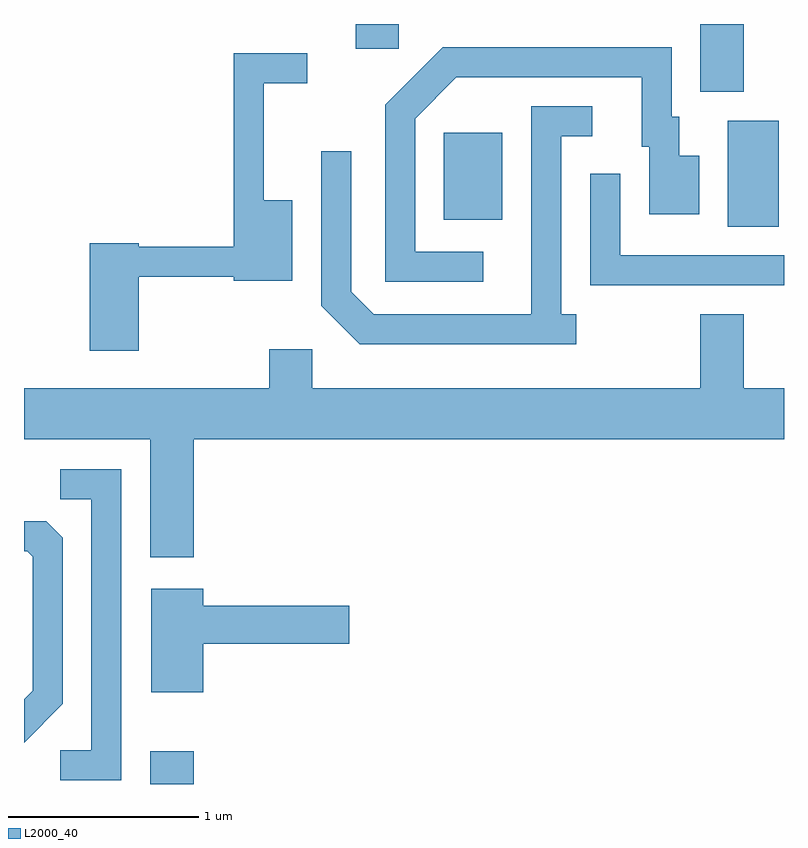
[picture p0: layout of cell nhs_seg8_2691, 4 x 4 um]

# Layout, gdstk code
import gdstk
lib = gdstk.Library(unit=1e-6, precision=1e-09)
def R(c, l, rs):  # rectangles x0, y0, x1, y1
    for r in rs: c.add(gdstk.rectangle(r[:2], r[2:], *l))
def P(c, l, *ps):  # polygons
    for p in ps: c.add(gdstk.Polygon(p, *l))
L2000_40 = (2000, 40)

nhs_seg8_2691 = lib.new_cell('nhs_seg8_2691')
R(nhs_seg8_2691, L2000_40, [(266.276,1872.342,266.504,1872.514), (269.316,1875.276,269.584,1875.834), (267.821,1875.311,268.129,1875.769), (269.171,1875.986,269.399,1876.342), (267.356,1876.211,267.584,1876.342)])
P(nhs_seg8_2691, L2000_40, [(268.028,1875.144),(267.669,1875.144),(267.669,1875.844),(267.887,1876.061),(268.861,1876.061),(268.861,1875.696),(268.901,1875.696),(268.901,1875.341),(269.164,1875.341),(269.164,1875.649),(269.059,1875.649),(269.059,1875.854),(269.019,1875.854),(269.019,1876.219),(267.814,1876.219),(267.511,1875.917),(267.511,1874.986),(268.028,1874.986)],
  [(266.214,1875.011),(266.716,1875.011),(266.716,1874.991),(267.024,1874.991),(267.024,1875.414),(266.874,1875.414),(266.874,1876.031),(267.103,1876.031),(267.103,1876.189),(266.716,1876.189),(266.716,1875.169),(266.214,1875.169),(266.214,1875.189),(265.956,1875.189),(265.956,1874.621),(266.214,1874.621)],
  [(268.518,1874.814),(268.439,1874.814),(268.439,1875.751),(268.603,1875.751),(268.603,1875.909),(268.281,1875.909),(268.281,1874.814),(267.452,1874.814),(267.334,1874.932),(267.334,1875.673),(267.176,1875.673),(267.176,1874.859),(267.379,1874.656),(268.518,1874.656)],
  [(269.611,1875.124),(268.749,1875.124),(268.749,1875.553),(268.591,1875.553),(268.591,1874.966),(269.611,1874.966)],
  [(266.504,1874.156),(269.611,1874.156),(269.611,1874.424),(269.399,1874.424),(269.399,1874.814),(269.171,1874.814),(269.171,1874.424),(267.129,1874.424),(267.129,1874.629),(266.901,1874.629),(266.901,1874.424),(265.611,1874.424),(265.611,1874.156),(266.276,1874.156),(266.276,1873.536),(266.504,1873.536)],
  [(266.124,1873.999),(265.803,1873.999),(265.803,1873.841),(265.966,1873.841),(265.966,1872.519),(265.803,1872.519),(265.803,1872.361),(266.124,1872.361)],
  [(265.814,1872.764),(265.814,1873.639),(265.729,1873.724),(265.611,1873.724),(265.611,1873.566),(265.629,1873.566),(265.656,1873.539),(265.656,1872.832),(265.611,1872.787),(265.611,1872.56)],
  [(266.554,1873.081),(267.324,1873.081),(267.324,1873.279),(266.554,1873.279),(266.554,1873.369),(266.281,1873.369),(266.281,1872.826),(266.554,1872.826)])

lib.write_gds('nhs_seg8_2691.gds')
